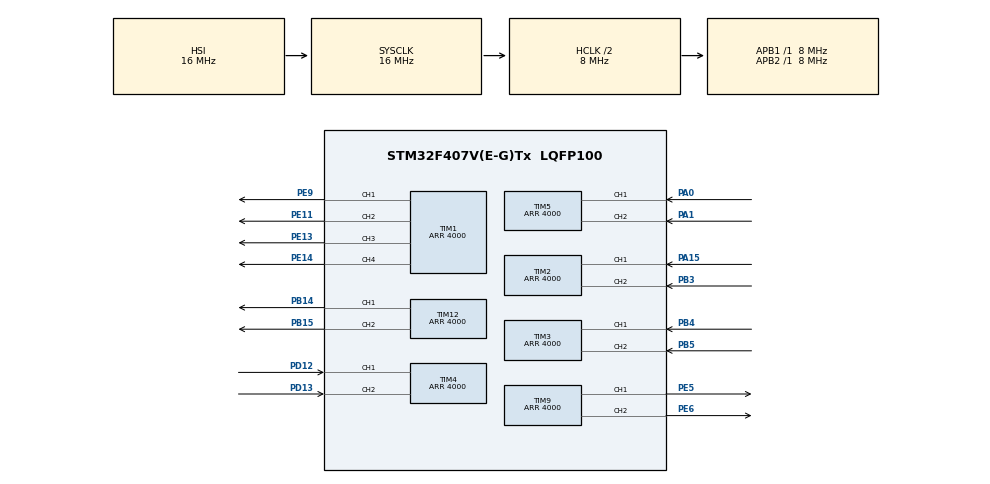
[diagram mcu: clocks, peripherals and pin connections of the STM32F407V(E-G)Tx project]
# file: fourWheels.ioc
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Mcu.Family=STM32F4
Mcu.Name=STM32F407V(E-G)Tx
Mcu.Package=LQFP100
NVIC.PriorityGroup=NVIC_PRIORITYGROUP_4
PA0-WKUP.Signal=S_TIM5_CH1
PA1.Signal=S_TIM5_CH2
PA13.Mode=Serial_Wire
PA13.Signal=SYS_JTMS-SWDIO
PA14.Mode=Serial_Wire
PA14.Signal=SYS_JTCK-SWCLK
PA15.Signal=S_TIM2_CH1_ETR
PB14.Signal=S_TIM12_CH1
PB15.Signal=S_TIM12_CH2
PB3.Signal=S_TIM2_CH2
PB4.Signal=S_TIM3_CH1
PB5.Signal=S_TIM3_CH2
PD12.Signal=S_TIM4_CH1
PD13.Signal=S_TIM4_CH2
PE11.Signal=S_TIM1_CH2
PE13.Signal=S_TIM1_CH3
PE14.Signal=S_TIM1_CH4
PE5.Signal=S_TIM9_CH1
PE6.Signal=S_TIM9_CH2
PE9.Signal=S_TIM1_CH1
ProjectManager.HeapSize=0x200
ProjectManager.StackSize=0x400
ProjectManager.TargetToolchain=STM32CubeIDE
RCC.AHBCLKDivider=RCC_SYSCLK_DIV2
RCC.AHBFreq_Value=8000000
RCC.APB1Freq_Value=8000000
RCC.APB1TimFreq_Value=8000000
RCC.APB2Freq_Value=8000000
RCC.APB2TimFreq_Value=8000000
RCC.CortexFreq_Value=8000000
RCC.HCLKFreq_Value=8000000
RCC.HSE_VALUE=25000000
RCC.HSI_VALUE=16000000
RCC.LSE_VALUE=32768
RCC.SYSCLKFreq_VALUE=16000000
RCC.VCOOutputFreq_Value=192000000
SH.S_TIM12_CH1.0=TIM12_CH1,PWM Generation1 CH1
SH.S_TIM12_CH2.0=TIM12_CH2,PWM Generation2 CH2
SH.S_TIM1_CH1.0=TIM1_CH1,PWM Generation1 CH1
SH.S_TIM1_CH2.0=TIM1_CH2,PWM Generation2 CH2
SH.S_TIM1_CH3.0=TIM1_CH3,PWM Generation3 CH3
SH.S_TIM1_CH4.0=TIM1_CH4,PWM Generation4 CH4
SH.S_TIM2_CH1_ETR.0=TIM2_CH1,Encoder_Interface
SH.S_TIM2_CH2.0=TIM2_CH2,Encoder_Interface
SH.S_TIM3_CH1.0=TIM3_CH1,Encoder_Interface
SH.S_TIM3_CH2.0=TIM3_CH2,Encoder_Interface
SH.S_TIM4_CH1.0=TIM4_CH1,Encoder_Interface
SH.S_TIM4_CH2.0=TIM4_CH2,Encoder_Interface
SH.S_TIM5_CH1.0=TIM5_CH1,Encoder_Interface
SH.S_TIM5_CH2.0=TIM5_CH2,Encoder_Interface
SH.S_TIM9_CH1.0=TIM9_CH1,PWM Generation1 CH1
SH.S_TIM9_CH2.0=TIM9_CH2,PWM Generation2 CH2
TIM1.Channel-PWM\ Generation1\ CH1=TIM_CHANNEL_1
TIM1.Channel-PWM\ Generation2\ CH2=TIM_CHANNEL_2
TIM1.Channel-PWM\ Generation3\ CH3=TIM_CHANNEL_3
TIM1.Channel-PWM\ Generation4\ CH4=TIM_CHANNEL_4
TIM1.Period=4000
TIM12.Channel-PWM\ Generation1\ CH1=TIM_CHANNEL_1
TIM12.Channel-PWM\ Generation2\ CH2=TIM_CHANNEL_2
TIM12.Period=4000
TIM2.EncoderMode=TIM_ENCODERMODE_TI12
TIM2.IC1Polarity=TIM_ICPOLARITY_FALLING
TIM2.IC2Polarity=TIM_ICPOLARITY_FALLING
TIM2.Period=4000
TIM3.EncoderMode=TIM_ENCODERMODE_TI12
TIM3.IC1Polarity=TIM_ICPOLARITY_RISING
TIM3.IC2Polarity=TIM_ICPOLARITY_RISING
TIM3.Period=4000
TIM4.EncoderMode=TIM_ENCODERMODE_TI12
TIM4.Period=4000
TIM5.EncoderMode=TIM_ENCODERMODE_TI12
TIM5.Period=4000
TIM9.Channel-PWM\ Generation1\ CH1=TIM_CHANNEL_1
TIM9.Channel-PWM\ Generation2\ CH2=TIM_CHANNEL_2
TIM9.Period=4000
board=custom

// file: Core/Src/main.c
/* USER CODE BEGIN Header */
/**
  ******************************************************************************
  * @file           : main.c
  * @brief          : Main program body
  ******************************************************************************
  * @attention
  *
  * Copyright (c) 2024 STMicroelectronics.
  * All rights reserved.
  *
  * This software is licensed under terms that can be found in the LICENSE file
  * in the root directory of this software component.
  * If no LICENSE file comes with this software, it is provided AS-IS.
  *
  ******************************************************************************
  */
/* USER CODE END Header */
#include "main.h"

TIM_HandleTypeDef htim1;
TIM_HandleTypeDef htim2;
TIM_HandleTypeDef htim3;
TIM_HandleTypeDef htim4;
TIM_HandleTypeDef htim5;
TIM_HandleTypeDef htim9;
TIM_HandleTypeDef htim12;

void SystemClock_Config(void);
static void MX_GPIO_Init(void);
static void MX_TIM1_Init(void);
static void MX_TIM2_Init(void);
static void MX_TIM4_Init(void);
static void MX_TIM9_Init(void);
static void MX_TIM12_Init(void);
static void MX_TIM3_Init(void);
static void MX_TIM5_Init(void);

/* USER CODE BEGIN 0 */

//Motor motor_a, motor_b, motor_c, motor_d;

/* USER CODE END 0 */

int main(void)
{

  /* MCU Configuration--------------------------------------------------------*/

  /* Reset of all peripherals, Initializes the Flash interface and the Systick. */
  HAL_Init();

  /* Configure the system clock */
  SystemClock_Config();

  /* Initialize all configured peripherals */
  MX_GPIO_Init();
  MX_TIM1_Init();
  MX_TIM2_Init();
  MX_TIM4_Init();
  MX_TIM9_Init();
  MX_TIM12_Init();
  MX_TIM3_Init();
  MX_TIM5_Init();
  /* USER CODE BEGIN 2 */

  // motor_a encoder PA15、PB3 timer2 CH1,2, motor PE9、PE11 timer1 CH1,2
  //motor_b encoder PB4、PB5 timer3 CH1, 2, motor PE13、PE14 timer1 CH3,4
  //motor_c encoder PD12、PD13 timer4 CH1,2 ; motor PB14、PB15 timer12 CH1,2
  //motor_d encoder PA0、PA1 timer5 CH1,2; motor PE5、PE6 timer9 CH1,2
  if(HAL_TIM_PWM_Start(&htim2, TIM_CHANNEL_1) != HAL_OK)
          	  Error_Handler();
    if(HAL_TIM_PWM_Start(&htim2, TIM_CHANNEL_2) != HAL_OK)
            	  Error_Handler();
  if(HAL_TIM_PWM_Start(&htim1, TIM_CHANNEL_1) != HAL_OK)
      	  Error_Handler();
  if(HAL_TIM_PWM_Start(&htim1, TIM_CHANNEL_2) != HAL_OK)
        	  Error_Handler();

  if(HAL_TIM_PWM_Start(&htim3, TIM_CHANNEL_1) != HAL_OK)
            	  Error_Handler();
   if(HAL_TIM_PWM_Start(&htim3, TIM_CHANNEL_2) != HAL_OK)
              	  Error_Handler();
  if(HAL_TIM_PWM_Start(&htim1, TIM_CHANNEL_3) != HAL_OK)
        	  Error_Handler();
  if(HAL_TIM_PWM_Start(&htim1, TIM_CHANNEL_4) != HAL_OK)
        	  Error_Handler();

  if(HAL_TIM_PWM_Start(&htim4, TIM_CHANNEL_1) != HAL_OK)
              	Error_Handler();
  if(HAL_TIM_PWM_Start(&htim4, TIM_CHANNEL_2) != HAL_OK)
				Error_Handler();
  if(HAL_TIM_PWM_Start(&htim12, TIM_CHANNEL_1) != HAL_OK)
                	Error_Handler();
    if(HAL_TIM_PWM_Start(&htim12, TIM_CHANNEL_2) != HAL_OK)
  				Error_Handler();

    if(HAL_TIM_PWM_Start(&htim5, TIM_CHANNEL_1) != HAL_OK)
                Error_Handler();
    if(HAL_TIM_PWM_Start(&htim5, TIM_CHANNEL_2) != HAL_OK)
  				Error_Handler();
    if(HAL_TIM_PWM_Start(&htim9, TIM_CHANNEL_1) != HAL_OK)
                  Error_Handler();
    if(HAL_TIM_PWM_Start(&htim9, TIM_CHANNEL_2) != HAL_OK)
    			Error_Handler();

  /* USER CODE END 2 */

  /* Infinite loop */
  /* USER CODE BEGIN WHILE */
  while (1)
  {
	  get_motors_speed();
	  set_motors_speed();
	  set_motors_output();

    /* USER CODE END WHILE */

  }
}

void SystemClock_Config(void)
{
  RCC_OscInitTypeDef RCC_OscInitStruct = {0};
  RCC_ClkInitTypeDef RCC_ClkInitStruct = {0};

  /** Configure the main internal regulator output voltage
  */
  __HAL_RCC_PWR_CLK_ENABLE();
  __HAL_PWR_VOLTAGESCALING_CONFIG(PWR_REGULATOR_VOLTAGE_SCALE1);

  /** Initializes the RCC Oscillators according to the specified parameters
  * in the RCC_OscInitTypeDef structure.
  */
  RCC_OscInitStruct.OscillatorType = RCC_OSCILLATORTYPE_HSI;
  RCC_OscInitStruct.HSIState = RCC_HSI_ON;
  RCC_OscInitStruct.HSICalibrationValue = RCC_HSICALIBRATION_DEFAULT;
  RCC_OscInitStruct.PLL.PLLState = RCC_PLL_NONE;
  if (HAL_RCC_OscConfig(&RCC_OscInitStruct) != HAL_OK)
  {
    Error_Handler();
  }

  /** Initializes the CPU, AHB and APB buses clocks
  */
  RCC_ClkInitStruct.ClockType = RCC_CLOCKTYPE_HCLK|RCC_CLOCKTYPE_SYSCLK
                              |RCC_CLOCKTYPE_PCLK1|RCC_CLOCKTYPE_PCLK2;
  RCC_ClkInitStruct.SYSCLKSource = RCC_SYSCLKSOURCE_HSI;
  RCC_ClkInitStruct.AHBCLKDivider = RCC_SYSCLK_DIV2;
  RCC_ClkInitStruct.APB1CLKDivider = RCC_HCLK_DIV1;
  RCC_ClkInitStruct.APB2CLKDivider = RCC_HCLK_DIV1;

  if (HAL_RCC_ClockConfig(&RCC_ClkInitStruct, FLASH_LATENCY_0) != HAL_OK)
  {
    Error_Handler();
  }
}

static void MX_TIM1_Init(void)
{

  TIM_MasterConfigTypeDef sMasterConfig = {0};
  TIM_OC_InitTypeDef sConfigOC = {0};
  TIM_BreakDeadTimeConfigTypeDef sBreakDeadTimeConfig = {0};

  htim1.Instance = TIM1;
  htim1.Init.Prescaler = 0;
  htim1.Init.CounterMode = TIM_COUNTERMODE_UP;
  htim1.Init.Period = 4000;
  htim1.Init.ClockDivision = TIM_CLOCKDIVISION_DIV1;
  htim1.Init.RepetitionCounter = 0;
  htim1.Init.AutoReloadPreload = TIM_AUTORELOAD_PRELOAD_DISABLE;
  if (HAL_TIM_PWM_Init(&htim1) != HAL_OK)
  {
    Error_Handler();
  }
  sMasterConfig.MasterOutputTrigger = TIM_TRGO_RESET;
  sMasterConfig.MasterSlaveMode = TIM_MASTERSLAVEMODE_DISABLE;
  if (HAL_TIMEx_MasterConfigSynchronization(&htim1, &sMasterConfig) != HAL_OK)
  {
    Error_Handler();
  }
  sConfigOC.OCMode = TIM_OCMODE_PWM1;
  sConfigOC.Pulse = 0;
  sConfigOC.OCPolarity = TIM_OCPOLARITY_HIGH;
  sConfigOC.OCNPolarity = TIM_OCNPOLARITY_HIGH;
  sConfigOC.OCFastMode = TIM_OCFAST_DISABLE;
  sConfigOC.OCIdleState = TIM_OCIDLESTATE_RESET;
  sConfigOC.OCNIdleState = TIM_OCNIDLESTATE_RESET;
  if (HAL_TIM_PWM_ConfigChannel(&htim1, &sConfigOC, TIM_CHANNEL_1) != HAL_OK)
  {
    Error_Handler();
  }
  if (HAL_TIM_PWM_ConfigChannel(&htim1, &sConfigOC, TIM_CHANNEL_2) != HAL_OK)
  {
    Error_Handler();
  }
  if (HAL_TIM_PWM_ConfigChannel(&htim1, &sConfigOC, TIM_CHANNEL_3) != HAL_OK)
  {
    Error_Handler();
  }
  if (HAL_TIM_PWM_ConfigChannel(&htim1, &sConfigOC, TIM_CHANNEL_4) != HAL_OK)
  {
    Error_Handler();
  }
  sBreakDeadTimeConfig.OffStateRunMode = TIM_OSSR_DISABLE;
  sBreakDeadTimeConfig.OffStateIDLEMode = TIM_OSSI_DISABLE;
  sBreakDeadTimeConfig.LockLevel = TIM_LOCKLEVEL_OFF;
  sBreakDeadTimeConfig.DeadTime = 0;
  sBreakDeadTimeConfig.BreakState = TIM_BREAK_DISABLE;
  sBreakDeadTimeConfig.BreakPolarity = TIM_BREAKPOLARITY_HIGH;
  sBreakDeadTimeConfig.AutomaticOutput = TIM_AUTOMATICOUTPUT_DISABLE;
  if (HAL_TIMEx_ConfigBreakDeadTime(&htim1, &sBreakDeadTimeConfig) != HAL_OK)
  {
    Error_Handler();
  }
  HAL_TIM_MspPostInit(&htim1);

}

static void MX_TIM2_Init(void)
{

  TIM_Encoder_InitTypeDef sConfig = {0};
  TIM_MasterConfigTypeDef sMasterConfig = {0};

  htim2.Instance = TIM2;
  htim2.Init.Prescaler = 0;
  htim2.Init.CounterMode = TIM_COUNTERMODE_UP;
  htim2.Init.Period = 4000;
  htim2.Init.ClockDivision = TIM_CLOCKDIVISION_DIV1;
  htim2.Init.AutoReloadPreload = TIM_AUTORELOAD_PRELOAD_DISABLE;
  sConfig.EncoderMode = TIM_ENCODERMODE_TI12;
  sConfig.IC1Polarity = TIM_ICPOLARITY_FALLING;
  sConfig.IC1Selection = TIM_ICSELECTION_DIRECTTI;
  sConfig.IC1Prescaler = TIM_ICPSC_DIV1;
  sConfig.IC1Filter = 0;
  sConfig.IC2Polarity = TIM_ICPOLARITY_FALLING;
  sConfig.IC2Selection = TIM_ICSELECTION_DIRECTTI;
  sConfig.IC2Prescaler = TIM_ICPSC_DIV1;
  sConfig.IC2Filter = 0;
  if (HAL_TIM_Encoder_Init(&htim2, &sConfig) != HAL_OK)
  {
    Error_Handler();
  }
  sMasterConfig.MasterOutputTrigger = TIM_TRGO_RESET;
  sMasterConfig.MasterSlaveMode = TIM_MASTERSLAVEMODE_DISABLE;
  if (HAL_TIMEx_MasterConfigSynchronization(&htim2, &sMasterConfig) != HAL_OK)
  {
    Error_Handler();
  }

}

static void MX_TIM3_Init(void)
{

  TIM_Encoder_InitTypeDef sConfig = {0};
  TIM_MasterConfigTypeDef sMasterConfig = {0};

  htim3.Instance = TIM3;
  htim3.Init.Prescaler = 0;
  htim3.Init.CounterMode = TIM_COUNTERMODE_UP;
  htim3.Init.Period = 4000;
  htim3.Init.ClockDivision = TIM_CLOCKDIVISION_DIV1;
  htim3.Init.AutoReloadPreload = TIM_AUTORELOAD_PRELOAD_DISABLE;
  sConfig.EncoderMode = TIM_ENCODERMODE_TI12;
  sConfig.IC1Polarity = TIM_ICPOLARITY_RISING;
  sConfig.IC1Selection = TIM_ICSELECTION_DIRECTTI;
  sConfig.IC1Prescaler = TIM_ICPSC_DIV1;
  sConfig.IC1Filter = 0;
  sConfig.IC2Polarity = TIM_ICPOLARITY_RISING;
  sConfig.IC2Selection = TIM_ICSELECTION_DIRECTTI;
  sConfig.IC2Prescaler = TIM_ICPSC_DIV1;
  sConfig.IC2Filter = 0;
  if (HAL_TIM_Encoder_Init(&htim3, &sConfig) != HAL_OK)
  {
    Error_Handler();
  }
  sMasterConfig.MasterOutputTrigger = TIM_TRGO_RESET;
  sMasterConfig.MasterSlaveMode = TIM_MASTERSLAVEMODE_DISABLE;
  if (HAL_TIMEx_MasterConfigSynchronization(&htim3, &sMasterConfig) != HAL_OK)
  {
    Error_Handler();
  }

}

static void MX_TIM4_Init(void)
{

  TIM_Encoder_InitTypeDef sConfig = {0};
  TIM_MasterConfigTypeDef sMasterConfig = {0};

  htim4.Instance = TIM4;
  htim4.Init.Prescaler = 0;
  htim4.Init.CounterMode = TIM_COUNTERMODE_UP;
  htim4.Init.Period = 4000;
  htim4.Init.ClockDivision = TIM_CLOCKDIVISION_DIV1;
  htim4.Init.AutoReloadPreload = TIM_AUTORELOAD_PRELOAD_DISABLE;
  sConfig.EncoderMode = TIM_ENCODERMODE_TI12;
  sConfig.IC1Polarity = TIM_ICPOLARITY_RISING;
  sConfig.IC1Selection = TIM_ICSELECTION_DIRECTTI;
  sConfig.IC1Prescaler = TIM_ICPSC_DIV1;
  sConfig.IC1Filter = 0;
  sConfig.IC2Polarity = TIM_ICPOLARITY_RISING;
  sConfig.IC2Selection = TIM_ICSELECTION_DIRECTTI;
  sConfig.IC2Prescaler = TIM_ICPSC_DIV1;
  sConfig.IC2Filter = 0;
  if (HAL_TIM_Encoder_Init(&htim4, &sConfig) != HAL_OK)
  {
    Error_Handler();
  }
  sMasterConfig.MasterOutputTrigger = TIM_TRGO_RESET;
  sMasterConfig.MasterSlaveMode = TIM_MASTERSLAVEMODE_DISABLE;
  if (HAL_TIMEx_MasterConfigSynchronization(&htim4, &sMasterConfig) != HAL_OK)
  {
    Error_Handler();
  }

}

static void MX_TIM5_Init(void)
{

  TIM_Encoder_InitTypeDef sConfig = {0};
  TIM_MasterConfigTypeDef sMasterConfig = {0};

  htim5.Instance = TIM5;
  htim5.Init.Prescaler = 0;
  htim5.Init.CounterMode = TIM_COUNTERMODE_UP;
  htim5.Init.Period = 4000;
  htim5.Init.ClockDivision = TIM_CLOCKDIVISION_DIV1;
  htim5.Init.AutoReloadPreload = TIM_AUTORELOAD_PRELOAD_DISABLE;
  sConfig.EncoderMode = TIM_ENCODERMODE_TI12;
  sConfig.IC1Polarity = TIM_ICPOLARITY_RISING;
  sConfig.IC1Selection = TIM_ICSELECTION_DIRECTTI;
  sConfig.IC1Prescaler = TIM_ICPSC_DIV1;
  sConfig.IC1Filter = 0;
  sConfig.IC2Polarity = TIM_ICPOLARITY_RISING;
  sConfig.IC2Selection = TIM_ICSELECTION_DIRECTTI;
  sConfig.IC2Prescaler = TIM_ICPSC_DIV1;
  sConfig.IC2Filter = 0;
  if (HAL_TIM_Encoder_Init(&htim5, &sConfig) != HAL_OK)
  {
    Error_Handler();
  }
  sMasterConfig.MasterOutputTrigger = TIM_TRGO_RESET;
  sMasterConfig.MasterSlaveMode = TIM_MASTERSLAVEMODE_DISABLE;
  if (HAL_TIMEx_MasterConfigSynchronization(&htim5, &sMasterConfig) != HAL_OK)
  {
    Error_Handler();
  }

}

static void MX_TIM9_Init(void)
{

  TIM_OC_InitTypeDef sConfigOC = {0};

  htim9.Instance = TIM9;
  htim9.Init.Prescaler = 0;
  htim9.Init.CounterMode = TIM_COUNTERMODE_UP;
  htim9.Init.Period = 4000;
  htim9.Init.ClockDivision = TIM_CLOCKDIVISION_DIV1;
  htim9.Init.AutoReloadPreload = TIM_AUTORELOAD_PRELOAD_DISABLE;
  if (HAL_TIM_PWM_Init(&htim9) != HAL_OK)
  {
    Error_Handler();
  }
  sConfigOC.OCMode = TIM_OCMODE_PWM1;
  sConfigOC.Pulse = 0;
  sConfigOC.OCPolarity = TIM_OCPOLARITY_HIGH;
  sConfigOC.OCFastMode = TIM_OCFAST_DISABLE;
  if (HAL_TIM_PWM_ConfigChannel(&htim9, &sConfigOC, TIM_CHANNEL_1) != HAL_OK)
  {
    Error_Handler();
  }
  if (HAL_TIM_PWM_ConfigChannel(&htim9, &sConfigOC, TIM_CHANNEL_2) != HAL_OK)
  {
    Error_Handler();
  }
  HAL_TIM_MspPostInit(&htim9);

}

static void MX_TIM12_Init(void)
{

  TIM_OC_InitTypeDef sConfigOC = {0};

  htim12.Instance = TIM12;
  htim12.Init.Prescaler = 0;
  htim12.Init.CounterMode = TIM_COUNTERMODE_UP;
  htim12.Init.Period = 4000;
  htim12.Init.ClockDivision = TIM_CLOCKDIVISION_DIV1;
  htim12.Init.AutoReloadPreload = TIM_AUTORELOAD_PRELOAD_DISABLE;
  if (HAL_TIM_PWM_Init(&htim12) != HAL_OK)
  {
    Error_Handler();
  }
  sConfigOC.OCMode = TIM_OCMODE_PWM1;
  sConfigOC.Pulse = 0;
  sConfigOC.OCPolarity = TIM_OCPOLARITY_HIGH;
  sConfigOC.OCFastMode = TIM_OCFAST_DISABLE;
  if (HAL_TIM_PWM_ConfigChannel(&htim12, &sConfigOC, TIM_CHANNEL_1) != HAL_OK)
  {
    Error_Handler();
  }
  if (HAL_TIM_PWM_ConfigChannel(&htim12, &sConfigOC, TIM_CHANNEL_2) != HAL_OK)
  {
    Error_Handler();
  }
  HAL_TIM_MspPostInit(&htim12);

}

static void MX_GPIO_Init(void)
{

  /* GPIO Ports Clock Enable */
  __HAL_RCC_GPIOE_CLK_ENABLE();
  __HAL_RCC_GPIOA_CLK_ENABLE();
  __HAL_RCC_GPIOB_CLK_ENABLE();
  __HAL_RCC_GPIOD_CLK_ENABLE();

}

void Error_Handler(void)
{
  __disable_irq();
  while (1)
  {
  }
}
